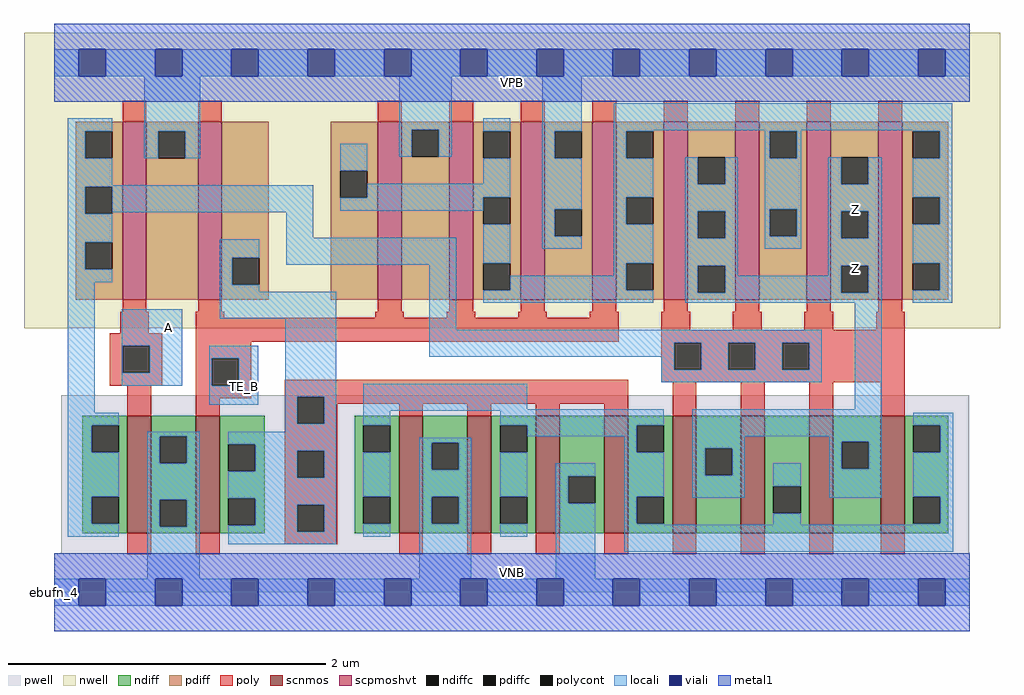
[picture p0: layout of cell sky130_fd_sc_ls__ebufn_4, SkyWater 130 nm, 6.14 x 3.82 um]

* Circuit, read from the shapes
.subckt sky130_fd_sc_ls__ebufn_4 A TE_B VGND VNB VPB VPWR Z
XM1 VGND A n1 VNB sky130_fd_pr__nfet_01v8 w=0.74 l=0.15
XM2 n2 TE_B VGND VNB sky130_fd_pr__nfet_01v8 w=0.74 l=0.15
XM3 VGND n2 n3 VNB sky130_fd_pr__nfet_01v8 w=0.74 l=0.15 m=4
XM4 Z n1 n3 VNB sky130_fd_pr__nfet_01v8 w=0.74 l=0.15 m=4
XM5 VPWR A n1 VPB sky130_fd_pr__pfet_01v8_hvt w=1.12 l=0.15
XM6 n2 TE_B VPWR VPB sky130_fd_pr__pfet_01v8_hvt w=1.12 l=0.15
XM7 VPWR TE_B n4 VPB sky130_fd_pr__pfet_01v8_hvt w=1.12 l=0.15 m=4
XM8 Z n1 n4 VPB sky130_fd_pr__pfet_01v8_hvt w=1.12 l=0.15 m=4
.ends

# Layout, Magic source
magic
tech sky130A
magscale 1 2
<< nwell >>
rect -38 332 1190 704
<< pwell >>
rect 9 49 1151 248
rect 0 0 1152 49
<< scnmos >>
rect 92 74 122 222
rect 178 74 208 222
rect 434 74 464 222
rect 520 74 550 222
rect 606 74 636 222
rect 692 74 722 222
rect 778 74 808 222
rect 864 74 894 222
rect 950 74 980 222
rect 1040 74 1070 222
<< scpmoshvt >>
rect 86 368 116 592
rect 181 368 211 592
rect 407 368 437 592
rect 497 368 527 592
rect 587 368 617 592
rect 677 368 707 592
rect 767 368 797 592
rect 857 368 887 592
rect 947 368 977 592
rect 1037 368 1067 592
<< ndiff >>
rect 35 210 92 222
rect 35 176 47 210
rect 81 176 92 210
rect 35 120 92 176
rect 35 86 47 120
rect 81 86 92 120
rect 35 74 92 86
rect 122 196 178 222
rect 122 162 133 196
rect 167 162 178 196
rect 122 116 178 162
rect 122 82 133 116
rect 167 82 178 116
rect 122 74 178 82
rect 208 186 265 222
rect 208 152 219 186
rect 253 152 265 186
rect 208 118 265 152
rect 208 84 219 118
rect 253 84 265 118
rect 208 74 265 84
rect 378 210 434 222
rect 378 176 389 210
rect 423 176 434 210
rect 378 120 434 176
rect 378 86 389 120
rect 423 86 434 120
rect 378 74 434 86
rect 464 188 520 222
rect 464 154 475 188
rect 509 154 520 188
rect 464 120 520 154
rect 464 86 475 120
rect 509 86 520 120
rect 464 74 520 86
rect 550 210 606 222
rect 550 176 561 210
rect 595 176 606 210
rect 550 120 606 176
rect 550 86 561 120
rect 595 86 606 120
rect 550 74 606 86
rect 636 146 692 222
rect 636 112 647 146
rect 681 112 692 146
rect 636 74 692 112
rect 722 210 778 222
rect 722 176 733 210
rect 767 176 778 210
rect 722 120 778 176
rect 722 86 733 120
rect 767 86 778 120
rect 722 74 778 86
rect 808 181 864 222
rect 808 147 819 181
rect 853 147 864 181
rect 808 74 864 147
rect 894 133 950 222
rect 894 99 905 133
rect 939 99 950 133
rect 894 74 950 99
rect 980 189 1040 222
rect 980 155 991 189
rect 1025 155 1040 189
rect 980 74 1040 155
rect 1070 210 1125 222
rect 1070 176 1081 210
rect 1115 176 1125 210
rect 1070 120 1125 176
rect 1070 86 1081 120
rect 1115 86 1125 120
rect 1070 74 1125 86
<< pdiff >>
rect 27 580 86 592
rect 27 546 39 580
rect 73 546 86 580
rect 27 510 86 546
rect 27 476 39 510
rect 73 476 86 510
rect 27 440 86 476
rect 27 406 39 440
rect 73 406 86 440
rect 27 368 86 406
rect 116 580 181 592
rect 116 546 131 580
rect 165 546 181 580
rect 116 368 181 546
rect 211 421 270 592
rect 211 387 224 421
rect 258 387 270 421
rect 211 368 270 387
rect 348 530 407 592
rect 348 496 360 530
rect 394 496 407 530
rect 348 368 407 496
rect 437 582 497 592
rect 437 548 450 582
rect 484 548 497 582
rect 437 368 497 548
rect 527 580 587 592
rect 527 546 540 580
rect 574 546 587 580
rect 527 497 587 546
rect 527 463 540 497
rect 574 463 587 497
rect 527 414 587 463
rect 527 380 540 414
rect 574 380 587 414
rect 527 368 587 380
rect 617 580 677 592
rect 617 546 630 580
rect 664 546 677 580
rect 617 482 677 546
rect 617 448 630 482
rect 664 448 677 482
rect 617 368 677 448
rect 707 580 767 592
rect 707 546 720 580
rect 754 546 767 580
rect 707 497 767 546
rect 707 463 720 497
rect 754 463 767 497
rect 707 414 767 463
rect 707 380 720 414
rect 754 380 767 414
rect 707 368 767 380
rect 797 547 857 592
rect 797 513 810 547
rect 844 513 857 547
rect 797 479 857 513
rect 797 445 810 479
rect 844 445 857 479
rect 797 411 857 445
rect 797 377 810 411
rect 844 377 857 411
rect 797 368 857 377
rect 887 580 947 592
rect 887 546 900 580
rect 934 546 947 580
rect 887 482 947 546
rect 887 448 900 482
rect 934 448 947 482
rect 887 368 947 448
rect 977 547 1037 592
rect 977 513 990 547
rect 1024 513 1037 547
rect 977 479 1037 513
rect 977 445 990 479
rect 1024 445 1037 479
rect 977 411 1037 445
rect 977 377 990 411
rect 1024 377 1037 411
rect 977 368 1037 377
rect 1067 580 1125 592
rect 1067 546 1080 580
rect 1114 546 1125 580
rect 1067 497 1125 546
rect 1067 463 1080 497
rect 1114 463 1125 497
rect 1067 414 1125 463
rect 1067 380 1080 414
rect 1114 380 1125 414
rect 1067 368 1125 380
<< ndiffc >>
rect 47 176 81 210
rect 47 86 81 120
rect 133 162 167 196
rect 133 82 167 116
rect 219 152 253 186
rect 219 84 253 118
rect 389 176 423 210
rect 389 86 423 120
rect 475 154 509 188
rect 475 86 509 120
rect 561 176 595 210
rect 561 86 595 120
rect 647 112 681 146
rect 733 176 767 210
rect 733 86 767 120
rect 819 147 853 181
rect 905 99 939 133
rect 991 155 1025 189
rect 1081 176 1115 210
rect 1081 86 1115 120
<< pdiffc >>
rect 39 546 73 580
rect 39 476 73 510
rect 39 406 73 440
rect 131 546 165 580
rect 224 387 258 421
rect 360 496 394 530
rect 450 548 484 582
rect 540 546 574 580
rect 540 463 574 497
rect 540 380 574 414
rect 630 546 664 580
rect 630 448 664 482
rect 720 546 754 580
rect 720 463 754 497
rect 720 380 754 414
rect 810 513 844 547
rect 810 445 844 479
rect 810 377 844 411
rect 900 546 934 580
rect 900 448 934 482
rect 990 513 1024 547
rect 990 445 1024 479
rect 990 377 1024 411
rect 1080 546 1114 580
rect 1080 463 1114 497
rect 1080 380 1114 414
<< poly >>
rect 86 592 116 618
rect 181 592 211 618
rect 407 592 437 618
rect 497 592 527 618
rect 587 592 617 618
rect 677 592 707 618
rect 767 592 797 618
rect 857 592 887 618
rect 947 592 977 618
rect 1037 592 1067 618
rect 86 353 116 368
rect 181 353 211 368
rect 407 353 437 368
rect 497 353 527 368
rect 587 353 617 368
rect 677 353 707 368
rect 767 353 797 368
rect 857 353 887 368
rect 947 353 977 368
rect 1037 353 1067 368
rect 83 326 119 353
rect 178 345 214 353
rect 404 345 440 353
rect 494 345 530 353
rect 584 345 620 353
rect 674 345 710 353
rect 70 310 136 326
rect 70 276 86 310
rect 120 276 136 310
rect 70 260 136 276
rect 178 315 710 345
rect 764 330 800 353
rect 854 330 890 353
rect 944 330 980 353
rect 1034 330 1070 353
rect 178 294 248 315
rect 178 260 198 294
rect 232 260 248 294
rect 764 314 1070 330
rect 764 280 780 314
rect 814 280 848 314
rect 882 280 916 314
rect 950 280 1070 314
rect 92 222 122 260
rect 178 244 248 260
rect 290 246 722 267
rect 764 264 1070 280
rect 178 222 208 244
rect 290 212 306 246
rect 340 237 722 246
rect 340 212 356 237
rect 434 222 464 237
rect 520 222 550 237
rect 606 222 636 237
rect 692 222 722 237
rect 778 222 808 264
rect 864 222 894 264
rect 950 222 980 264
rect 1040 222 1070 264
rect 290 178 356 212
rect 290 144 306 178
rect 340 144 356 178
rect 290 110 356 144
rect 290 76 306 110
rect 340 76 356 110
rect 92 48 122 74
rect 178 48 208 74
rect 290 60 356 76
rect 434 48 464 74
rect 520 48 550 74
rect 606 48 636 74
rect 692 48 722 74
rect 778 48 808 74
rect 864 48 894 74
rect 950 48 980 74
rect 1040 48 1070 74
<< polycont >>
rect 86 276 120 310
rect 198 260 232 294
rect 780 280 814 314
rect 848 280 882 314
rect 916 280 950 314
rect 306 212 340 246
rect 306 144 340 178
rect 306 76 340 110
<< locali >>
rect 0 649 31 683
rect 65 649 127 683
rect 161 649 223 683
rect 257 649 319 683
rect 353 649 415 683
rect 449 649 511 683
rect 545 649 607 683
rect 641 649 703 683
rect 737 649 799 683
rect 833 649 895 683
rect 929 649 991 683
rect 1025 649 1087 683
rect 1121 649 1152 683
rect 17 580 73 596
rect 17 546 39 580
rect 113 580 184 649
rect 113 546 131 580
rect 165 546 184 580
rect 434 582 500 649
rect 17 512 73 546
rect 360 530 394 564
rect 434 548 450 582
rect 484 548 500 582
rect 540 580 574 596
rect 17 510 326 512
rect 17 476 39 510
rect 73 478 326 510
rect 540 514 574 546
rect 394 497 574 514
rect 394 496 540 497
rect 360 480 540 496
rect 17 440 73 476
rect 292 446 326 478
rect 17 406 39 440
rect 17 390 73 406
rect 208 421 258 444
rect 17 226 51 390
rect 208 387 224 421
rect 292 412 506 446
rect 208 378 258 387
rect 85 310 161 356
rect 208 344 355 378
rect 85 276 86 310
rect 120 276 161 310
rect 85 260 161 276
rect 195 294 257 310
rect 195 260 198 294
rect 232 260 257 294
rect 195 236 257 260
rect 291 246 355 344
rect 472 330 506 412
rect 540 414 574 463
rect 614 580 664 649
rect 614 546 630 580
rect 614 482 664 546
rect 614 448 630 482
rect 614 432 664 448
rect 704 581 1130 615
rect 704 580 754 581
rect 704 546 720 580
rect 894 580 940 581
rect 704 497 754 546
rect 704 463 720 497
rect 704 414 754 463
rect 704 398 720 414
rect 574 380 720 398
rect 540 364 754 380
rect 794 513 810 547
rect 844 513 860 547
rect 794 479 860 513
rect 794 445 810 479
rect 844 445 860 479
rect 794 411 860 445
rect 894 546 900 580
rect 934 546 940 580
rect 1080 580 1130 581
rect 894 482 940 546
rect 894 448 900 482
rect 934 448 940 482
rect 894 432 940 448
rect 974 513 990 547
rect 1024 513 1041 547
rect 974 479 1041 513
rect 974 445 990 479
rect 1024 445 1041 479
rect 794 377 810 411
rect 844 398 860 411
rect 974 411 1041 445
rect 974 398 990 411
rect 844 377 990 398
rect 1024 377 1041 411
rect 794 364 1041 377
rect 1114 546 1130 580
rect 1080 497 1130 546
rect 1114 463 1130 497
rect 1080 414 1130 463
rect 1114 380 1130 414
rect 1080 364 1130 380
rect 472 314 966 330
rect 472 296 780 314
rect 764 280 780 296
rect 814 280 848 314
rect 882 280 916 314
rect 950 280 966 314
rect 764 264 966 280
rect 17 210 81 226
rect 17 176 47 210
rect 291 212 306 246
rect 340 212 355 246
rect 291 202 355 212
rect 17 120 81 176
rect 17 86 47 120
rect 17 70 81 86
rect 117 196 183 202
rect 117 162 133 196
rect 167 162 183 196
rect 117 116 183 162
rect 117 82 133 116
rect 167 82 183 116
rect 117 17 183 82
rect 219 186 355 202
rect 253 178 355 186
rect 253 152 306 178
rect 219 144 306 152
rect 340 144 355 178
rect 219 118 355 144
rect 253 110 355 118
rect 253 84 306 110
rect 219 76 306 84
rect 340 76 355 110
rect 219 60 355 76
rect 389 230 595 262
rect 1007 230 1041 364
rect 389 228 767 230
rect 389 210 423 228
rect 561 210 767 228
rect 389 120 423 176
rect 389 70 423 86
rect 459 188 525 194
rect 459 154 475 188
rect 509 154 525 188
rect 459 120 525 154
rect 459 86 475 120
rect 509 86 525 120
rect 459 17 525 86
rect 595 196 733 210
rect 561 120 595 176
rect 717 176 733 196
rect 561 70 595 86
rect 631 146 681 162
rect 631 112 647 146
rect 631 17 681 112
rect 717 120 767 176
rect 717 86 733 120
rect 803 196 1041 230
rect 803 181 869 196
rect 803 147 819 181
rect 853 147 869 181
rect 975 189 1041 196
rect 803 119 869 147
rect 905 133 939 162
rect 717 85 767 86
rect 975 155 991 189
rect 1025 155 1041 189
rect 975 119 1041 155
rect 1081 210 1131 226
rect 1115 176 1131 210
rect 1081 120 1131 176
rect 905 85 939 99
rect 1115 86 1131 120
rect 1081 85 1131 86
rect 717 51 1131 85
rect 0 -17 31 17
rect 65 -17 127 17
rect 161 -17 223 17
rect 257 -17 319 17
rect 353 -17 415 17
rect 449 -17 511 17
rect 545 -17 607 17
rect 641 -17 703 17
rect 737 -17 799 17
rect 833 -17 895 17
rect 929 -17 991 17
rect 1025 -17 1087 17
rect 1121 -17 1152 17
<< viali >>
rect 31 649 65 683
rect 127 649 161 683
rect 223 649 257 683
rect 319 649 353 683
rect 415 649 449 683
rect 511 649 545 683
rect 607 649 641 683
rect 703 649 737 683
rect 799 649 833 683
rect 895 649 929 683
rect 991 649 1025 683
rect 1087 649 1121 683
rect 31 -17 65 17
rect 127 -17 161 17
rect 223 -17 257 17
rect 319 -17 353 17
rect 415 -17 449 17
rect 511 -17 545 17
rect 607 -17 641 17
rect 703 -17 737 17
rect 799 -17 833 17
rect 895 -17 929 17
rect 991 -17 1025 17
rect 1087 -17 1121 17
<< metal1 >>
rect 0 683 1152 715
rect 0 649 31 683
rect 65 649 127 683
rect 161 649 223 683
rect 257 649 319 683
rect 353 649 415 683
rect 449 649 511 683
rect 545 649 607 683
rect 641 649 703 683
rect 737 649 799 683
rect 833 649 895 683
rect 929 649 991 683
rect 1025 649 1087 683
rect 1121 649 1152 683
rect 0 617 1152 649
rect 0 17 1152 49
rect 0 -17 31 17
rect 65 -17 127 17
rect 161 -17 223 17
rect 257 -17 319 17
rect 353 -17 415 17
rect 449 -17 511 17
rect 545 -17 607 17
rect 641 -17 703 17
rect 737 -17 799 17
rect 833 -17 895 17
rect 929 -17 991 17
rect 1025 -17 1087 17
rect 1121 -17 1152 17
rect 0 -49 1152 -17
<< labels >>
rlabel comment s 0 0 0 0 4 ebufn_4
flabel pwell s 0 0 1152 49 0 FreeSans 200 0 0 0 VNB
port 4 nsew ground bidirectional
flabel nwell s 0 617 1152 666 0 FreeSans 200 0 0 0 VPB
port 5 nsew power bidirectional
flabel metal1 s 0 617 1152 666 0 FreeSans 340 0 0 0 VPWR
port 6 nsew power bidirectional abutment
flabel metal1 s 0 0 1152 49 0 FreeSans 340 0 0 0 VGND
port 3 nsew ground bidirectional abutment
flabel locali s 991 390 1025 424 0 FreeSans 340 0 0 0 Z
port 7 nsew signal output
flabel locali s 991 464 1025 498 0 FreeSans 340 0 0 0 Z
port 7 nsew signal output
flabel locali s 223 242 257 276 0 FreeSans 340 0 0 0 TE_B
port 2 nsew signal input
flabel locali s 127 316 161 350 0 FreeSans 340 0 0 0 A
port 1 nsew signal input
<< properties >>
string LEFsite unit
string LEFclass CORE
string FIXED_BBOX 0 0 1152 666
string GDS_FILE $PDKPATH/libs.ref/sky130_fd_sc_ls/gds/sky130_fd_sc_ls.gds
string LEFsymmetry X Y
string GDS_END 1833530
string GDS_START 1824050
<< end >>
